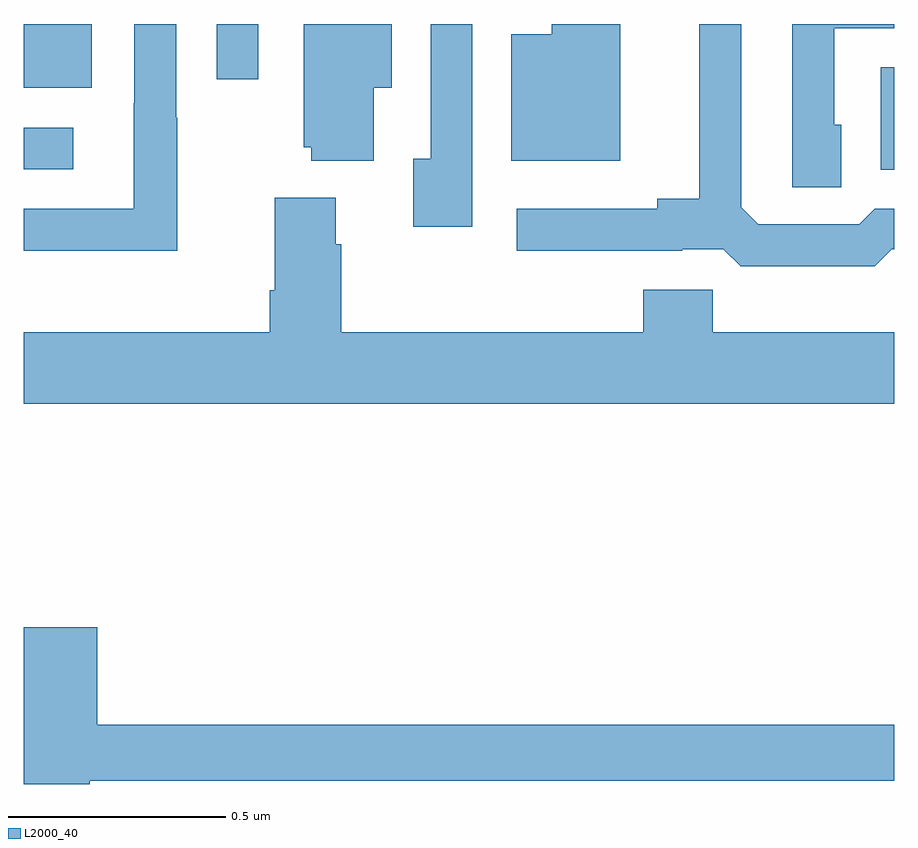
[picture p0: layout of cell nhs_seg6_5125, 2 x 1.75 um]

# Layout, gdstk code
import gdstk
lib = gdstk.Library(unit=1e-6, precision=1e-09)
def R(c, l, rs):  # rectangles x0, y0, x1, y1
    for r in rs: c.add(gdstk.rectangle(r[:2], r[2:], *l))
def P(c, l, *ps):  # polygons
    for p in ps: c.add(gdstk.Polygon(p, *l))
L2000_40 = (2000, 40)

nhs_seg6_5125 = lib.new_cell('nhs_seg6_5125')
R(nhs_seg6_5125, L2000_40, [(179.969,989.165,180,989.401), (178,989.166,178.114,989.262), (178,989.354,178.156,989.5), (178.443,989.373,178.539,989.5)])
P(nhs_seg6_5125, L2000_40, [(178.353,989.285),(178.35,989.285),(178.35,989.5),(178.254,989.5),(178.254,989.318),(178.253,989.318),(178.253,989.076),(178,989.076),(178,988.979),(178.353,988.979)],
  [(179.878,989.268),(179.862,989.268),(179.862,989.49),(180,989.49),(180,989.5),(179.766,989.5),(179.766,989.125),(179.878,989.125)],
  [(179.371,989.5),(179.213,989.5),(179.213,989.476),(179.12,989.476),(179.12,989.186),(179.371,989.186)],
  [(178.804,989.354),(178.846,989.354),(178.846,989.5),(178.643,989.5),(178.643,989.217),(178.661,989.217),(178.661,989.186),(178.804,989.186)],
  [(179.994,988.983),(180,988.983),(180,989.076),(179.955,989.076),(179.919,989.04),(179.688,989.04),(179.649,989.079),(179.649,989.5),(179.552,989.5),(179.552,989.099),(179.456,989.099),(179.456,989.076),(179.133,989.076),(179.133,988.979),(179.513,988.979),(179.513,988.983),(179.607,988.983),(179.647,988.944),(179.955,988.944)],
  [(179.031,989.5),(178.935,989.5),(178.935,989.19),(178.895,989.19),(178.895,989.034),(179.031,989.034)],
  [(180,988.792),(179.583,988.792),(179.583,988.89),(179.423,988.89),(179.423,988.792),(178.73,988.792),(178.73,988.994),(178.717,988.994),(178.717,989.101),(178.577,989.101),(178.577,988.888),(178.565,988.888),(178.565,988.792),(178,988.792),(178,988.628),(180,988.628)],
  [(178.152,987.762),(180,987.762),(180,987.89),(178.169,987.89),(178.169,988.114),(178,988.114),(178,987.754),(178.152,987.754)])

lib.write_gds('nhs_seg6_5125.gds')
